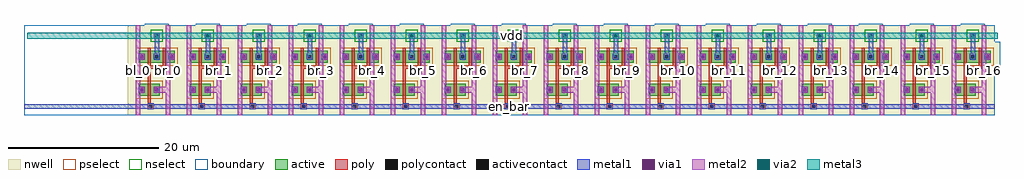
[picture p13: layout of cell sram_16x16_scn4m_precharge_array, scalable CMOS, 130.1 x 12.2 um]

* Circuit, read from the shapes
.subckt sram_16x16_scn4m_precharge_array bl_0 bl_1 bl_10 bl_11 bl_12 bl_13 bl_14 bl_15 bl_16 bl_2 bl_3 bl_4 bl_5 bl_6 bl_7 bl_8 bl_9 br_0 br_1 br_10 br_11 br_12 br_13 br_14 br_15 br_16 br_2 br_3 br_4 br_5 br_6 br_7 br_8 br_9 en_bar vdd
M1 br_0 en_bar bl_0 vdd pfet w=1.6u l=0.4u
M2 vdd en_bar bl_0 vdd pfet w=1.6u l=0.4u
M3 br_0 en_bar vdd vdd pfet w=1.6u l=0.4u
M4 br_1 en_bar bl_1 vdd pfet w=1.6u l=0.4u
M5 vdd en_bar bl_1 vdd pfet w=1.6u l=0.4u
M6 br_1 en_bar vdd vdd pfet w=1.6u l=0.4u
M7 br_2 en_bar bl_2 vdd pfet w=1.6u l=0.4u
M8 vdd en_bar bl_2 vdd pfet w=1.6u l=0.4u
M9 br_2 en_bar vdd vdd pfet w=1.6u l=0.4u
M10 br_3 en_bar bl_3 vdd pfet w=1.6u l=0.4u
M11 vdd en_bar bl_3 vdd pfet w=1.6u l=0.4u
M12 br_3 en_bar vdd vdd pfet w=1.6u l=0.4u
M13 br_4 en_bar bl_4 vdd pfet w=1.6u l=0.4u
M14 vdd en_bar bl_4 vdd pfet w=1.6u l=0.4u
M15 br_4 en_bar vdd vdd pfet w=1.6u l=0.4u
M16 br_5 en_bar bl_5 vdd pfet w=1.6u l=0.4u
M17 vdd en_bar bl_5 vdd pfet w=1.6u l=0.4u
M18 br_5 en_bar vdd vdd pfet w=1.6u l=0.4u
M19 br_6 en_bar bl_6 vdd pfet w=1.6u l=0.4u
M20 vdd en_bar bl_6 vdd pfet w=1.6u l=0.4u
M21 br_6 en_bar vdd vdd pfet w=1.6u l=0.4u
M22 br_7 en_bar bl_7 vdd pfet w=1.6u l=0.4u
M23 vdd en_bar bl_7 vdd pfet w=1.6u l=0.4u
M24 br_7 en_bar vdd vdd pfet w=1.6u l=0.4u
M25 br_8 en_bar bl_8 vdd pfet w=1.6u l=0.4u
M26 vdd en_bar bl_8 vdd pfet w=1.6u l=0.4u
M27 br_8 en_bar vdd vdd pfet w=1.6u l=0.4u
M28 br_9 en_bar bl_9 vdd pfet w=1.6u l=0.4u
M29 vdd en_bar bl_9 vdd pfet w=1.6u l=0.4u
M30 br_9 en_bar vdd vdd pfet w=1.6u l=0.4u
M31 br_10 en_bar bl_10 vdd pfet w=1.6u l=0.4u
M32 vdd en_bar bl_10 vdd pfet w=1.6u l=0.4u
M33 br_10 en_bar vdd vdd pfet w=1.6u l=0.4u
M34 br_11 en_bar bl_11 vdd pfet w=1.6u l=0.4u
M35 vdd en_bar bl_11 vdd pfet w=1.6u l=0.4u
M36 br_11 en_bar vdd vdd pfet w=1.6u l=0.4u
M37 br_12 en_bar bl_12 vdd pfet w=1.6u l=0.4u
M38 vdd en_bar bl_12 vdd pfet w=1.6u l=0.4u
M39 br_12 en_bar vdd vdd pfet w=1.6u l=0.4u
M40 br_13 en_bar bl_13 vdd pfet w=1.6u l=0.4u
M41 vdd en_bar bl_13 vdd pfet w=1.6u l=0.4u
M42 br_13 en_bar vdd vdd pfet w=1.6u l=0.4u
M43 br_14 en_bar bl_14 vdd pfet w=1.6u l=0.4u
M44 vdd en_bar bl_14 vdd pfet w=1.6u l=0.4u
M45 br_14 en_bar vdd vdd pfet w=1.6u l=0.4u
M46 br_15 en_bar bl_15 vdd pfet w=1.6u l=0.4u
M47 vdd en_bar bl_15 vdd pfet w=1.6u l=0.4u
M48 br_15 en_bar vdd vdd pfet w=1.6u l=0.4u
M49 br_16 en_bar bl_16 vdd pfet w=1.6u l=0.4u
M50 vdd en_bar bl_16 vdd pfet w=1.6u l=0.4u
M51 br_16 en_bar vdd vdd pfet w=1.6u l=0.4u
.ends

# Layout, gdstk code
import gdstk
lib = gdstk.Library(unit=1e-6, precision=1e-09)
def R(c, l, rs):  # rectangles x0, y0, x1, y1
    for r in rs: c.add(gdstk.rectangle(r[:2], r[2:], *l))
nwell = (42, 0)
active = (43, 0)
pselect = (44, 0)
nselect = (45, 0)
poly = (46, 0)
polycontact = (47, 0)
activecontact = (48, 0)
metal1 = (49, 0)
via1 = (50, 0)
metal2 = (51, 0)
via2 = (61, 0)
metal3 = (62, 0)
boundary = (63, 0)

sram_16x16_scn4m_contact = lib.new_cell('sram_16x16_scn4m_contact_12')
R(sram_16x16_scn4m_contact, nwell, [(-1.2,-1.2,2,2)])
R(sram_16x16_scn4m_contact, active, [(0,0,0.8,0.8)])
R(sram_16x16_scn4m_contact, pselect, [(-0.4,-0.4,1.2,1.2)])
R(sram_16x16_scn4m_contact, activecontact, [(0.2,0.2,0.6,0.6)])
R(sram_16x16_scn4m_contact, metal1, [(0,0,0.8,0.8)])
R(sram_16x16_scn4m_contact, boundary, [(-1.2,-1.2,2,2)])

sram_16x16_scn4m_pmos_m1 = lib.new_cell('sram_16x16_scn4m_pmos_m1_w1_600_sm1_dm1')
R(sram_16x16_scn4m_pmos_m1, nwell, [(-1.2,-1.2,4,2.8)])
R(sram_16x16_scn4m_pmos_m1, active, [(0,0,2.8,1.6)])
R(sram_16x16_scn4m_pmos_m1, pselect, [(-0.4,-0.4,3.2,2)])
R(sram_16x16_scn4m_pmos_m1, poly, [(1.2,-0.4,1.6,2), (1.2,-0.4,1.6,2)])
R(sram_16x16_scn4m_pmos_m1, metal1, [(0,0.4,0.8,1.2), (2,0.4,2.8,1.2)])
R(sram_16x16_scn4m_pmos_m1, boundary, [(-1.2,-1.2,4,2.8)])
sram_16x16_scn4m_pmos_m1.add(gdstk.Reference(sram_16x16_scn4m_contact, (0,0.4)))
sram_16x16_scn4m_pmos_m1.add(gdstk.Reference(sram_16x16_scn4m_contact, (2,0.4)))
sram_16x16_scn4m_pmos_m1.add(gdstk.Label('G', (1.4,0.8), layer=46, texttype=0))
sram_16x16_scn4m_pmos_m1.add(gdstk.Label('S', (0.4,0.8), layer=49, texttype=0))
sram_16x16_scn4m_pmos_m1.add(gdstk.Label('D', (2.4,0.8), layer=49, texttype=0))

c_sram_16x16_scn4m_contact = lib.new_cell('sram_16x16_scn4m_contact_15')
R(c_sram_16x16_scn4m_contact, poly, [(0,0,0.8,0.8)])
R(c_sram_16x16_scn4m_contact, polycontact, [(0.2,0.2,0.6,0.6)])
R(c_sram_16x16_scn4m_contact, metal1, [(0,0,0.8,0.8)])
R(c_sram_16x16_scn4m_contact, boundary, [(0,0,0.8,0.8)])

c_sram_16x16_scn4m_contact_ = lib.new_cell('sram_16x16_scn4m_contact_23')
R(c_sram_16x16_scn4m_contact_, nwell, [(-1.2,-1.2,2,2)])
R(c_sram_16x16_scn4m_contact_, active, [(0,0,0.8,0.8)])
R(c_sram_16x16_scn4m_contact_, nselect, [(-0.4,-0.4,1.2,1.2)])
R(c_sram_16x16_scn4m_contact_, activecontact, [(0.2,0.2,0.6,0.6)])
R(c_sram_16x16_scn4m_contact_, metal1, [(0,0,0.8,0.8)])
R(c_sram_16x16_scn4m_contact_, boundary, [(-1.2,-1.2,2,2)])

c_sram_16x16_scn4m_contact__ = lib.new_cell('sram_16x16_scn4m_contact_18')
R(c_sram_16x16_scn4m_contact__, metal1, [(0,0,0.8,0.8)])
R(c_sram_16x16_scn4m_contact__, via1, [(0.2,0.2,0.6,0.6)])
R(c_sram_16x16_scn4m_contact__, metal2, [(0,0,0.8,0.8)])
R(c_sram_16x16_scn4m_contact__, boundary, [(0,0,0.8,0.8)])

c_sram_16x16_scn4m_contact___ = lib.new_cell('sram_16x16_scn4m_contact_24')
R(c_sram_16x16_scn4m_contact___, metal1, [(0,0,0.8,0.8)])
R(c_sram_16x16_scn4m_contact___, via1, [(0.2,0.2,0.6,0.6)])
R(c_sram_16x16_scn4m_contact___, metal2, [(0,0,0.8,0.8)])
R(c_sram_16x16_scn4m_contact___, boundary, [(0,0,0.8,0.8)])

sram_16x16_scn4m_prechar = lib.new_cell('sram_16x16_scn4m_precharge_0')
R(sram_16x16_scn4m_prechar, nwell, [(0,0,6.8,12)])
R(sram_16x16_scn4m_prechar, poly, [(2.7,1,3.1,1.4), (2.9,1,3.1,1.4), (2.7,1.2,3.1,2.2), (2.7,4.6,3.1,6.6), (2.7,6.2,5.1,6.6)])
R(sram_16x16_scn4m_prechar, metal1, [(0,0.9,6.8,1.5), (3.6,7.8,4.2,10.6), (3.6,10.3,4.2,10.9)])
R(sram_16x16_scn4m_prechar, metal2, [(1.1,0,1.7,12), (1.1,0,1.7,12), (5.1,0,5.7,12), (5.1,0,5.7,12), (1.4,3,1.9,3.8), (3.9,3,5.4,3.8), (1.4,7.4,1.9,8.2), (5.4,7.4,5.9,8.2)])
R(sram_16x16_scn4m_prechar, boundary, [(0,0,6.8,12)])
sram_16x16_scn4m_prechar.add(gdstk.Reference(sram_16x16_scn4m_pmos_m1, (1.5,2.6)))
sram_16x16_scn4m_prechar.add(gdstk.Reference(sram_16x16_scn4m_pmos_m1, (1.5,7)))
sram_16x16_scn4m_prechar.add(gdstk.Reference(sram_16x16_scn4m_pmos_m1, (3.5,7)))
sram_16x16_scn4m_prechar.add(gdstk.Reference(c_sram_16x16_scn4m_contact, (2.7,0.8)))
sram_16x16_scn4m_prechar.add(gdstk.Reference(c_sram_16x16_scn4m_contact_, (3.5,10.2)))
sram_16x16_scn4m_prechar.add(gdstk.Reference(c_sram_16x16_scn4m_contact__, (3.5,10.2)))
sram_16x16_scn4m_prechar.add(gdstk.Reference(c_sram_16x16_scn4m_contact___, (1.5,3)))
sram_16x16_scn4m_prechar.add(gdstk.Reference(c_sram_16x16_scn4m_contact___, (3.5,3)))
sram_16x16_scn4m_prechar.add(gdstk.Reference(c_sram_16x16_scn4m_contact___, (1.5,7.4)))
sram_16x16_scn4m_prechar.add(gdstk.Reference(c_sram_16x16_scn4m_contact___, (5.5,7.4)))
sram_16x16_scn4m_prechar.add(gdstk.Label('en_bar', (3.4,1.2), layer=49, texttype=0))
sram_16x16_scn4m_prechar.add(gdstk.Label('vdd', (3.9,10.6), layer=49, texttype=0))
sram_16x16_scn4m_prechar.add(gdstk.Label('bl', (1.4,6), layer=51, texttype=0))
sram_16x16_scn4m_prechar.add(gdstk.Label('br', (5.4,6), layer=51, texttype=0))

c_sram_16x16_scn4m_contact____ = lib.new_cell('sram_16x16_scn4m_contact_19')
R(c_sram_16x16_scn4m_contact____, metal2, [(0,0,0.8,0.8)])
R(c_sram_16x16_scn4m_contact____, via2, [(0.2,0.2,0.6,0.6)])
R(c_sram_16x16_scn4m_contact____, metal3, [(0,0,0.8,0.8)])
R(c_sram_16x16_scn4m_contact____, boundary, [(0,0,0.8,0.8)])

c_sram_16x16_scn4m_prechar = lib.new_cell('sram_16x16_scn4m_precharge_array')
R(c_sram_16x16_scn4m_prechar, metal1, [(0,0.9,129.4,1.5), (16.9,0.9,17.5,1.5), (16.9,0.9,17.5,1.5), (23.7,0.9,24.3,1.5), (23.7,0.9,24.3,1.5), (30.5,0.9,31.1,1.5), (30.5,0.9,31.1,1.5), (37.3,0.9,37.9,1.5), (37.3,0.9,37.9,1.5), (44.1,0.9,44.7,1.5), (44.1,0.9,44.7,1.5), (50.9,0.9,51.5,1.5), (50.9,0.9,51.5,1.5), (57.7,0.9,58.3,1.5), (57.7,0.9,58.3,1.5), (64.5,0.9,65.1,1.5), (64.5,0.9,65.1,1.5), (71.3,0.9,71.9,1.5), (71.3,0.9,71.9,1.5), (78.1,0.9,78.7,1.5), (78.1,0.9,78.7,1.5), (84.9,0.9,85.5,1.5), (84.9,0.9,85.5,1.5), (91.7,0.9,92.3,1.5), (91.7,0.9,92.3,1.5), (98.5,0.9,99.1,1.5), (98.5,0.9,99.1,1.5), (105.3,0.9,105.9,1.5), (105.3,0.9,105.9,1.5), (112.1,0.9,112.7,1.5), (112.1,0.9,112.7,1.5), (118.9,0.9,119.5,1.5), (118.9,0.9,119.5,1.5), (125.7,0.9,126.3,1.5), (125.7,0.9,126.3,1.5)])
R(c_sram_16x16_scn4m_prechar, metal2, [(14.9,0,15.5,12), (18.9,0,19.5,12), (21.7,0,22.3,12), (25.7,0,26.3,12), (28.5,0,29.1,12), (32.5,0,33.1,12), (35.3,0,35.9,12), (39.3,0,39.9,12), (42.1,0,42.7,12), (46.1,0,46.7,12), (48.9,0,49.5,12), (52.9,0,53.5,12), (55.7,0,56.3,12), (59.7,0,60.3,12), (62.5,0,63.1,12), (66.5,0,67.1,12), (69.3,0,69.9,12), (73.3,0,73.9,12), (76.1,0,76.7,12), (80.1,0,80.7,12), (82.9,0,83.5,12), (86.9,0,87.5,12), (89.7,0,90.3,12), (93.7,0,94.3,12), (96.5,0,97.1,12), (100.5,0,101.1,12), (103.3,0,103.9,12), (107.3,0,107.9,12), (110.1,0,110.7,12), (114.1,0,114.7,12), (116.9,0,117.5,12), (120.9,0,121.5,12), (123.7,0,124.3,12), (127.7,0,128.3,12)])
R(c_sram_16x16_scn4m_prechar, metal3, [(0.4,10.2,129.8,11)])
R(c_sram_16x16_scn4m_prechar, boundary, [(0,0,129.4,12)])
c_sram_16x16_scn4m_prechar.add(gdstk.Reference(sram_16x16_scn4m_prechar, (13.8,0)))
c_sram_16x16_scn4m_prechar.add(gdstk.Reference(sram_16x16_scn4m_prechar, (20.6,0)))
c_sram_16x16_scn4m_prechar.add(gdstk.Reference(sram_16x16_scn4m_prechar, (27.4,0)))
c_sram_16x16_scn4m_prechar.add(gdstk.Reference(sram_16x16_scn4m_prechar, (34.2,0)))
c_sram_16x16_scn4m_prechar.add(gdstk.Reference(sram_16x16_scn4m_prechar, (41,0)))
c_sram_16x16_scn4m_prechar.add(gdstk.Reference(sram_16x16_scn4m_prechar, (47.8,0)))
c_sram_16x16_scn4m_prechar.add(gdstk.Reference(sram_16x16_scn4m_prechar, (54.6,0)))
c_sram_16x16_scn4m_prechar.add(gdstk.Reference(sram_16x16_scn4m_prechar, (61.4,0)))
c_sram_16x16_scn4m_prechar.add(gdstk.Reference(sram_16x16_scn4m_prechar, (68.2,0)))
c_sram_16x16_scn4m_prechar.add(gdstk.Reference(sram_16x16_scn4m_prechar, (75,0)))
c_sram_16x16_scn4m_prechar.add(gdstk.Reference(sram_16x16_scn4m_prechar, (81.8,0)))
c_sram_16x16_scn4m_prechar.add(gdstk.Reference(sram_16x16_scn4m_prechar, (88.6,0)))
c_sram_16x16_scn4m_prechar.add(gdstk.Reference(sram_16x16_scn4m_prechar, (95.4,0)))
c_sram_16x16_scn4m_prechar.add(gdstk.Reference(sram_16x16_scn4m_prechar, (102.2,0)))
c_sram_16x16_scn4m_prechar.add(gdstk.Reference(sram_16x16_scn4m_prechar, (109,0)))
c_sram_16x16_scn4m_prechar.add(gdstk.Reference(sram_16x16_scn4m_prechar, (115.8,0)))
c_sram_16x16_scn4m_prechar.add(gdstk.Reference(sram_16x16_scn4m_prechar, (122.6,0)))
c_sram_16x16_scn4m_prechar.add(gdstk.Reference(c_sram_16x16_scn4m_contact__, (17.3,10.2)))
c_sram_16x16_scn4m_prechar.add(gdstk.Reference(c_sram_16x16_scn4m_contact____, (17.3,10.2)))
c_sram_16x16_scn4m_prechar.add(gdstk.Reference(c_sram_16x16_scn4m_contact__, (24.1,10.2)))
c_sram_16x16_scn4m_prechar.add(gdstk.Reference(c_sram_16x16_scn4m_contact____, (24.1,10.2)))
c_sram_16x16_scn4m_prechar.add(gdstk.Reference(c_sram_16x16_scn4m_contact__, (30.9,10.2)))
c_sram_16x16_scn4m_prechar.add(gdstk.Reference(c_sram_16x16_scn4m_contact____, (30.9,10.2)))
c_sram_16x16_scn4m_prechar.add(gdstk.Reference(c_sram_16x16_scn4m_contact__, (37.7,10.2)))
c_sram_16x16_scn4m_prechar.add(gdstk.Reference(c_sram_16x16_scn4m_contact____, (37.7,10.2)))
c_sram_16x16_scn4m_prechar.add(gdstk.Reference(c_sram_16x16_scn4m_contact__, (44.5,10.2)))
c_sram_16x16_scn4m_prechar.add(gdstk.Reference(c_sram_16x16_scn4m_contact____, (44.5,10.2)))
c_sram_16x16_scn4m_prechar.add(gdstk.Reference(c_sram_16x16_scn4m_contact__, (51.3,10.2)))
c_sram_16x16_scn4m_prechar.add(gdstk.Reference(c_sram_16x16_scn4m_contact____, (51.3,10.2)))
c_sram_16x16_scn4m_prechar.add(gdstk.Reference(c_sram_16x16_scn4m_contact__, (58.1,10.2)))
c_sram_16x16_scn4m_prechar.add(gdstk.Reference(c_sram_16x16_scn4m_contact____, (58.1,10.2)))
c_sram_16x16_scn4m_prechar.add(gdstk.Reference(c_sram_16x16_scn4m_contact__, (64.9,10.2)))
c_sram_16x16_scn4m_prechar.add(gdstk.Reference(c_sram_16x16_scn4m_contact____, (64.9,10.2)))
c_sram_16x16_scn4m_prechar.add(gdstk.Reference(c_sram_16x16_scn4m_contact__, (71.7,10.2)))
c_sram_16x16_scn4m_prechar.add(gdstk.Reference(c_sram_16x16_scn4m_contact____, (71.7,10.2)))
c_sram_16x16_scn4m_prechar.add(gdstk.Reference(c_sram_16x16_scn4m_contact__, (78.5,10.2)))
c_sram_16x16_scn4m_prechar.add(gdstk.Reference(c_sram_16x16_scn4m_contact____, (78.5,10.2)))
c_sram_16x16_scn4m_prechar.add(gdstk.Reference(c_sram_16x16_scn4m_contact__, (85.3,10.2)))
c_sram_16x16_scn4m_prechar.add(gdstk.Reference(c_sram_16x16_scn4m_contact____, (85.3,10.2)))
c_sram_16x16_scn4m_prechar.add(gdstk.Reference(c_sram_16x16_scn4m_contact__, (92.1,10.2)))
c_sram_16x16_scn4m_prechar.add(gdstk.Reference(c_sram_16x16_scn4m_contact____, (92.1,10.2)))
c_sram_16x16_scn4m_prechar.add(gdstk.Reference(c_sram_16x16_scn4m_contact__, (98.9,10.2)))
c_sram_16x16_scn4m_prechar.add(gdstk.Reference(c_sram_16x16_scn4m_contact____, (98.9,10.2)))
c_sram_16x16_scn4m_prechar.add(gdstk.Reference(c_sram_16x16_scn4m_contact__, (105.7,10.2)))
c_sram_16x16_scn4m_prechar.add(gdstk.Reference(c_sram_16x16_scn4m_contact____, (105.7,10.2)))
c_sram_16x16_scn4m_prechar.add(gdstk.Reference(c_sram_16x16_scn4m_contact__, (112.5,10.2)))
c_sram_16x16_scn4m_prechar.add(gdstk.Reference(c_sram_16x16_scn4m_contact____, (112.5,10.2)))
c_sram_16x16_scn4m_prechar.add(gdstk.Reference(c_sram_16x16_scn4m_contact__, (119.3,10.2)))
c_sram_16x16_scn4m_prechar.add(gdstk.Reference(c_sram_16x16_scn4m_contact____, (119.3,10.2)))
c_sram_16x16_scn4m_prechar.add(gdstk.Reference(c_sram_16x16_scn4m_contact__, (126.1,10.2)))
c_sram_16x16_scn4m_prechar.add(gdstk.Reference(c_sram_16x16_scn4m_contact____, (126.1,10.2)))
c_sram_16x16_scn4m_prechar.add(gdstk.Label('en_bar', (64.7,1.2), layer=49, texttype=0))
c_sram_16x16_scn4m_prechar.add(gdstk.Label('bl_0', (15.2,6), layer=51, texttype=0))
c_sram_16x16_scn4m_prechar.add(gdstk.Label('br_0', (19.2,6), layer=51, texttype=0))
c_sram_16x16_scn4m_prechar.add(gdstk.Label('bl_1', (22,6), layer=51, texttype=0))
c_sram_16x16_scn4m_prechar.add(gdstk.Label('br_1', (26,6), layer=51, texttype=0))
c_sram_16x16_scn4m_prechar.add(gdstk.Label('bl_2', (28.8,6), layer=51, texttype=0))
c_sram_16x16_scn4m_prechar.add(gdstk.Label('br_2', (32.8,6), layer=51, texttype=0))
c_sram_16x16_scn4m_prechar.add(gdstk.Label('bl_3', (35.6,6), layer=51, texttype=0))
c_sram_16x16_scn4m_prechar.add(gdstk.Label('br_3', (39.6,6), layer=51, texttype=0))
c_sram_16x16_scn4m_prechar.add(gdstk.Label('bl_4', (42.4,6), layer=51, texttype=0))
c_sram_16x16_scn4m_prechar.add(gdstk.Label('br_4', (46.4,6), layer=51, texttype=0))
c_sram_16x16_scn4m_prechar.add(gdstk.Label('bl_5', (49.2,6), layer=51, texttype=0))
c_sram_16x16_scn4m_prechar.add(gdstk.Label('br_5', (53.2,6), layer=51, texttype=0))
c_sram_16x16_scn4m_prechar.add(gdstk.Label('bl_6', (56,6), layer=51, texttype=0))
c_sram_16x16_scn4m_prechar.add(gdstk.Label('br_6', (60,6), layer=51, texttype=0))
c_sram_16x16_scn4m_prechar.add(gdstk.Label('bl_7', (62.8,6), layer=51, texttype=0))
c_sram_16x16_scn4m_prechar.add(gdstk.Label('br_7', (66.8,6), layer=51, texttype=0))
c_sram_16x16_scn4m_prechar.add(gdstk.Label('bl_8', (69.6,6), layer=51, texttype=0))
c_sram_16x16_scn4m_prechar.add(gdstk.Label('br_8', (73.6,6), layer=51, texttype=0))
c_sram_16x16_scn4m_prechar.add(gdstk.Label('bl_9', (76.4,6), layer=51, texttype=0))
c_sram_16x16_scn4m_prechar.add(gdstk.Label('br_9', (80.4,6), layer=51, texttype=0))
c_sram_16x16_scn4m_prechar.add(gdstk.Label('bl_10', (83.2,6), layer=51, texttype=0))
c_sram_16x16_scn4m_prechar.add(gdstk.Label('br_10', (87.2,6), layer=51, texttype=0))
c_sram_16x16_scn4m_prechar.add(gdstk.Label('bl_11', (90,6), layer=51, texttype=0))
c_sram_16x16_scn4m_prechar.add(gdstk.Label('br_11', (94,6), layer=51, texttype=0))
c_sram_16x16_scn4m_prechar.add(gdstk.Label('bl_12', (96.8,6), layer=51, texttype=0))
c_sram_16x16_scn4m_prechar.add(gdstk.Label('br_12', (100.8,6), layer=51, texttype=0))
c_sram_16x16_scn4m_prechar.add(gdstk.Label('bl_13', (103.6,6), layer=51, texttype=0))
c_sram_16x16_scn4m_prechar.add(gdstk.Label('br_13', (107.6,6), layer=51, texttype=0))
c_sram_16x16_scn4m_prechar.add(gdstk.Label('bl_14', (110.4,6), layer=51, texttype=0))
c_sram_16x16_scn4m_prechar.add(gdstk.Label('br_14', (114.4,6), layer=51, texttype=0))
c_sram_16x16_scn4m_prechar.add(gdstk.Label('bl_15', (117.2,6), layer=51, texttype=0))
c_sram_16x16_scn4m_prechar.add(gdstk.Label('br_15', (121.2,6), layer=51, texttype=0))
c_sram_16x16_scn4m_prechar.add(gdstk.Label('bl_16', (124,6), layer=51, texttype=0))
c_sram_16x16_scn4m_prechar.add(gdstk.Label('br_16', (128,6), layer=51, texttype=0))
c_sram_16x16_scn4m_prechar.add(gdstk.Label('vdd', (65.1,10.6), layer=62, texttype=0))

lib.write_gds('sram_16x16_scn4m_precharge_array.gds')
